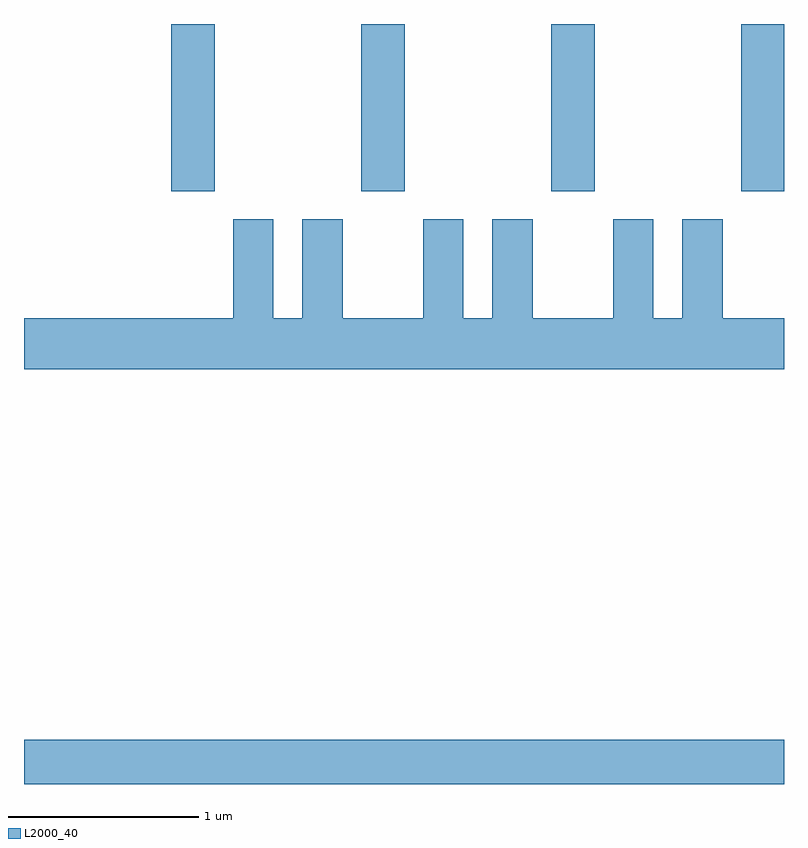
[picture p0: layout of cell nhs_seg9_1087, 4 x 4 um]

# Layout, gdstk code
import gdstk
lib = gdstk.Library(unit=1e-6, precision=1e-09)
def R(c, l, rs):  # rectangles x0, y0, x1, y1
    for r in rs: c.add(gdstk.rectangle(r[:2], r[2:], *l))
def A(c, l, x, y, w, h, nx, ny, dx, dy):  # array of equal rectangles
    R(c, l, [(x+i*dx, y+j*dy, x+i*dx+w, y+j*dy+h) for i in range(nx) for j in range(ny)])
def P(c, l, *ps):  # polygons
    for p in ps: c.add(gdstk.Polygon(p, *l))
L2000_40 = (2000, 40)

nhs_seg9_1087 = lib.new_cell('nhs_seg9_1087')
A(nhs_seg9_1087, L2000_40, 216.386, 2081.551, 0.228, 0.881, 3, 1, 1, 0)
R(nhs_seg9_1087, L2000_40, [(215.611,2078.432,219.611,2078.664), (219.386,2081.551,219.611,2082.432)])
P(nhs_seg9_1087, L2000_40, [(219.611,2080.884),(219.289,2080.884),(219.289,2081.404),(219.076,2081.404),(219.076,2080.884),(218.924,2080.884),(218.924,2081.404),(218.711,2081.404),(218.711,2080.884),(218.289,2080.884),(218.289,2081.404),(218.076,2081.404),(218.076,2080.884),(217.924,2080.884),(217.924,2081.404),(217.711,2081.404),(217.711,2080.884),(217.289,2080.884),(217.289,2081.404),(217.076,2081.404),(217.076,2080.884),(216.924,2080.884),(216.924,2081.404),(216.711,2081.404),(216.711,2080.884),(215.611,2080.884),(215.611,2080.616),(219.611,2080.616)])

lib.write_gds('nhs_seg9_1087.gds')
